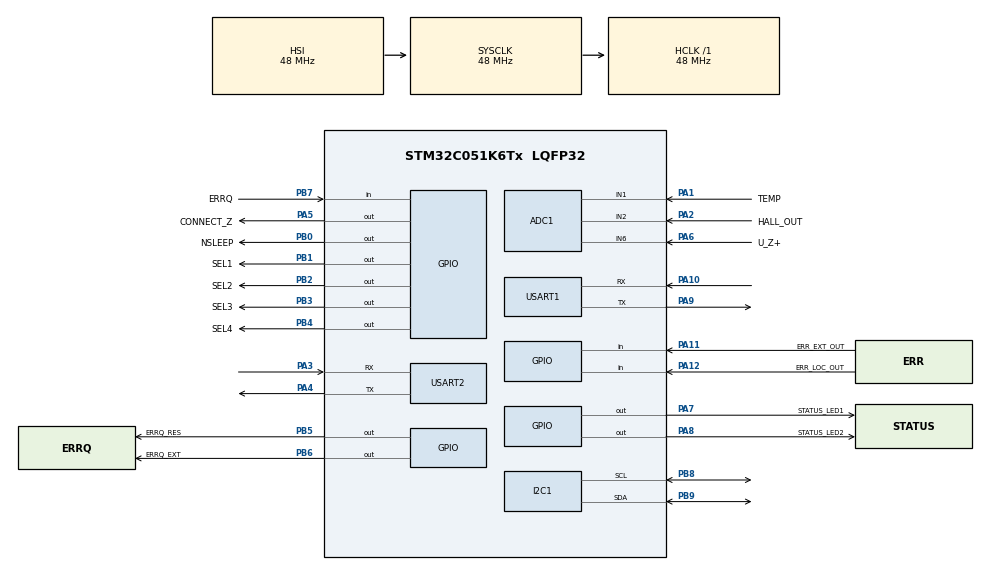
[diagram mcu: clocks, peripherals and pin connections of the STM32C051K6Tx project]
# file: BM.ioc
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ADC1.EnableAnalogWatchDog1=false
ADC1.NbrOfConversionFlag=0
ADC1.SamplingTimeCommon1=ADC_SAMPLETIME_160CYCLES_5
ADC1.SelectedChannel=ADC_CHANNEL_1|ADC_CHANNEL_2|ADC_CHANNEL_6
ADC1.master=1
FLASH.OB_Flash_Security_active=false
FLASH.OB_NRST_MODE_UI=OB_RESET_MODE_GPIO
FLASH.OB_User_Configuration_active=false
I2C1.Timing=0x10805D88
IWDG.Prescaler=IWDG_PRESCALER_32
IWDG.Reload=499
Mcu.Family=STM32C0
Mcu.Name=STM32C051K6Tx
Mcu.Package=LQFP32
PA1.GPIO_Label=TEMP
PA1.Mode=IN1
PA1.Signal=ADC1_IN1
PA10.Mode=Asynchronous
PA10.Signal=USART1_RX
PA11\ [PA9].GPIO_Label=ERR_EXT_OUT
PA11\ [PA9].Signal=GPIO_Input
PA12\ [PA10].GPIO_Label=ERR_LOC_OUT
PA12\ [PA10].Signal=GPIO_Input
PA13.Mode=Serial_Wire
PA13.Signal=DEBUG_SWDIO
PA14-BOOT0.Mode=Serial_Wire
PA14-BOOT0.Signal=DEBUG_SWCLK
PA2.GPIO_Label=HALL_OUT
PA2.Mode=IN2
PA2.Signal=ADC1_IN2
PA3.Mode=Asynchronous
PA3.Signal=USART2_RX
PA4.Mode=Asynchronous
PA4.Signal=USART2_TX
PA5.GPIO_Label=CONNECT_Z
PA5.Signal=GPIO_Output
PA6.GPIO_Label=U_Z+
PA6.Mode=IN6
PA6.Signal=ADC1_IN6
PA7.GPIO_Label=STATUS_LED1
PA7.Signal=GPIO_Output
PA8.GPIO_Label=STATUS_LED2
PA8.Signal=GPIO_Output
PA9.Mode=Asynchronous
PA9.Signal=USART1_TX
PB0.GPIO_Label=NSLEEP
PB0.PinState=GPIO_PIN_SET
PB0.Signal=GPIO_Output
PB1.GPIO_Label=SEL1
PB1.Signal=GPIO_Output
PB2.GPIO_Label=SEL2
PB2.Signal=GPIO_Output
PB3.GPIO_Label=SEL3
PB3.Signal=GPIO_Output
PB4.GPIO_Label=SEL4
PB4.Signal=GPIO_Output
PB5.GPIO_Label=ERRQ_RES
PB5.PinState=GPIO_PIN_SET
PB5.Signal=GPIO_Output
PB6.GPIO_Label=ERRQ_EXT
PB6.PinState=GPIO_PIN_SET
PB6.Signal=GPIO_Output
PB7.GPIO_Label=ERRQ
PB7.GPIO_PuPd=GPIO_PULLUP
PB7.Signal=GPIO_Input
PB8.Mode=I2C
PB8.Signal=I2C1_SCL
PB9.Mode=I2C
PB9.Signal=I2C1_SDA
PC14-OSCX_IN(PC14).GPIO_Label=OSC32_IN
PC14-OSCX_IN(PC14).Mode=LSE-External-Oscillator
PC14-OSCX_IN(PC14).Signal=RCC_OSCX_IN
PC15-OSCX_OUT(PC15).GPIO_Label=OSC_32_OUT
PC15-OSCX_OUT(PC15).Mode=LSE-External-Oscillator
PC15-OSCX_OUT(PC15).Signal=RCC_OSCX_OUT
ProjectManager.HeapSize=0x200
ProjectManager.StackSize=0x400
ProjectManager.TargetToolchain=STM32CubeIDE
RCC.ADCFreq_Value=48000000
RCC.AHBFreq_Value=48000000
RCC.CortexFreq_Value=48000000
RCC.EXTERNAL_CLOCK_VALUE=12288000
RCC.HCLKFreq_Value=48000000
RCC.HSE_VALUE=8000000
RCC.HSIKERCLKDivider=RCC_HSIKER_DIV2
RCC.HSISYSCLKDivider=RCC_HSI_DIV1
RCC.HSI_VALUE=48000000
RCC.SYSCLKFreq_VALUE=48000000
USART1.VirtualMode-Asynchronous=VM_ASYNC
USART2.VirtualMode-Asynchronous=VM_ASYNC
VP_FLASH_SIG_Activate_FlashIP.Mode=Activate_FlashIP
VP_IWDG_VS_IWDG.Mode=IWDG_Activate
board=custom

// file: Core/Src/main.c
/* USER CODE BEGIN Header */
/**
  ******************************************************************************
  * @file           : main.c
  * @brief          : Main program body
  ******************************************************************************
  * @attention
  *
  * Copyright (c) 2026 STMicroelectronics.
  * All rights reserved.
  *
  * This software is licensed under terms that can be found in the LICENSE file
  * in the root directory of this software component.
  * If no LICENSE file comes with this software, it is provided AS-IS.
  *
  ******************************************************************************
  */
/* USER CODE END Header */
#include "main.h"

/* USER CODE BEGIN Includes */
#include "bm_config.h"
#include "bm_io.h"
#include "bm_app.h"
#include "adc_reader.h"
#include "temperature_sensor.h"
#include "cell_meas.h"
#include "tle9015.h"
#include "eis.h"
#include "i2c_comm.h"
#include "uart_comm.h"

/* USER CODE END Includes */

ADC_HandleTypeDef hadc1;

I2C_HandleTypeDef hi2c1;

IWDG_HandleTypeDef hiwdg;

UART_HandleTypeDef huart1;
UART_HandleTypeDef huart2;

void SystemClock_Config(void);
static void MX_GPIO_Init(void);
static void MX_ADC1_Init(void);
static void MX_I2C1_Init(void);
static void MX_USART1_UART_Init(void);
static void MX_USART2_UART_Init(void);
static void MX_FLASH_Init(void);
static void MX_IWDG_Init(void);

int main(void)
{

  /* MCU Configuration--------------------------------------------------------*/

  /* Reset of all peripherals, Initializes the Flash interface and the Systick. */
  HAL_Init();

  /* Configure the system clock */
  SystemClock_Config();

  /* Initialize all configured peripherals */
  MX_GPIO_Init();
  MX_ADC1_Init();
  MX_I2C1_Init();
  MX_USART1_UART_Init();
  MX_USART2_UART_Init();
  MX_FLASH_Init();
  MX_IWDG_Init();
  /* USER CODE BEGIN 2 */

#if defined(HAL_IWDG_MODULE_ENABLED) && defined(__HAL_DBGMCU_FREEZE_IWDG)
  /* stop the watchdog while the debugger halts the core */
#if defined(__HAL_RCC_DBGMCU_CLK_ENABLE)
  __HAL_RCC_DBGMCU_CLK_ENABLE();
#endif
  __HAL_DBGMCU_FREEZE_IWDG();
#endif

  BmConfig_Load();      /* I2C address, number of TLE9010, current zero (flash) */
  BmIo_Init();          /* CONNECT_Z off, TLE9015 awake, ERRQ cleared */
  AdcReader_Init();     /* ADC self-calibration before the first conversion */
  TempSensor_Init();
  CellMeas_Init();
  Tle_Init();           /* USART2: 1 MBaud, MSB first */
  EIS_Init();
  I2cComm_Init();
  UartComm_Init();      /* debug console on USART1 (FT231X / USB) */

  /* USER CODE END 2 */

  /* Infinite loop */
  while (1)
  {

    /* USER CODE BEGIN 3 */
    TempSensor_Process();
    CellMeas_Process();
    EIS_Process();
    App_Process();
    I2cComm_Update();
    UartComm_Update();
    BmIo_Process(EIS_IsBusy(), App_GetErrorCode() != APP_ERR_NONE);

#ifdef HAL_IWDG_MODULE_ENABLED
    HAL_IWDG_Refresh(&hiwdg);
#endif
  }
  /* USER CODE END 3 */
}

void SystemClock_Config(void)
{
  RCC_OscInitTypeDef RCC_OscInitStruct = {0};
  RCC_ClkInitTypeDef RCC_ClkInitStruct = {0};

  __HAL_FLASH_SET_LATENCY(FLASH_LATENCY_1);

  /** Initializes the RCC Oscillators according to the specified parameters
  * in the RCC_OscInitTypeDef structure.
  */
  RCC_OscInitStruct.OscillatorType = RCC_OSCILLATORTYPE_HSI|RCC_OSCILLATORTYPE_LSI;
  RCC_OscInitStruct.HSIState = RCC_HSI_ON;
  RCC_OscInitStruct.HSIDiv = RCC_HSI_DIV1;
  RCC_OscInitStruct.HSICalibrationValue = RCC_HSICALIBRATION_DEFAULT;
  RCC_OscInitStruct.LSIState = RCC_LSI_ON;
  if (HAL_RCC_OscConfig(&RCC_OscInitStruct) != HAL_OK)
  {
    Error_Handler();
  }

  /** Initializes the CPU, AHB and APB buses clocks
  */
  RCC_ClkInitStruct.ClockType = RCC_CLOCKTYPE_HCLK|RCC_CLOCKTYPE_SYSCLK
                              |RCC_CLOCKTYPE_PCLK1;
  RCC_ClkInitStruct.SYSCLKSource = RCC_SYSCLKSOURCE_HSI;
  RCC_ClkInitStruct.SYSCLKDivider = RCC_SYSCLK_DIV1;
  RCC_ClkInitStruct.AHBCLKDivider = RCC_HCLK_DIV1;
  RCC_ClkInitStruct.APB1CLKDivider = RCC_APB1_DIV1;

  if (HAL_RCC_ClockConfig(&RCC_ClkInitStruct, FLASH_LATENCY_1) != HAL_OK)
  {
    Error_Handler();
  }
}

static void MX_ADC1_Init(void)
{

  ADC_ChannelConfTypeDef sConfig = {0};

  /** Configure the global features of the ADC (Clock, Resolution, Data Alignment and number of conversion)
  */
  hadc1.Instance = ADC1;
  hadc1.Init.ClockPrescaler = ADC_CLOCK_SYNC_PCLK_DIV2;
  hadc1.Init.Resolution = ADC_RESOLUTION_12B;
  hadc1.Init.DataAlign = ADC_DATAALIGN_RIGHT;
  hadc1.Init.ScanConvMode = ADC_SCAN_SEQ_FIXED;
  hadc1.Init.EOCSelection = ADC_EOC_SINGLE_CONV;
  hadc1.Init.LowPowerAutoWait = DISABLE;
  hadc1.Init.LowPowerAutoPowerOff = DISABLE;
  hadc1.Init.ContinuousConvMode = DISABLE;
  hadc1.Init.NbrOfConversion = 1;
  hadc1.Init.DiscontinuousConvMode = DISABLE;
  hadc1.Init.ExternalTrigConv = ADC_SOFTWARE_START;
  hadc1.Init.ExternalTrigConvEdge = ADC_EXTERNALTRIGCONVEDGE_NONE;
  hadc1.Init.DMAContinuousRequests = DISABLE;
  hadc1.Init.Overrun = ADC_OVR_DATA_PRESERVED;
  hadc1.Init.SamplingTimeCommon1 = ADC_SAMPLETIME_160CYCLES_5;
  hadc1.Init.OversamplingMode = DISABLE;
  hadc1.Init.TriggerFrequencyMode = ADC_TRIGGER_FREQ_HIGH;
  if (HAL_ADC_Init(&hadc1) != HAL_OK)
  {
    Error_Handler();
  }

  /** Configure Regular Channel
  */
  sConfig.Channel = ADC_CHANNEL_1;
  sConfig.Rank = ADC_RANK_CHANNEL_NUMBER;
  if (HAL_ADC_ConfigChannel(&hadc1, &sConfig) != HAL_OK)
  {
    Error_Handler();
  }

  /** Configure Regular Channel
  */
  sConfig.Channel = ADC_CHANNEL_2;
  if (HAL_ADC_ConfigChannel(&hadc1, &sConfig) != HAL_OK)
  {
    Error_Handler();
  }

  /** Configure Regular Channel
  */
  sConfig.Channel = ADC_CHANNEL_6;
  if (HAL_ADC_ConfigChannel(&hadc1, &sConfig) != HAL_OK)
  {
    Error_Handler();
  }

}

static void MX_FLASH_Init(void)
{

  if (HAL_FLASH_Unlock() != HAL_OK)
  {
    Error_Handler();
  }
  if (HAL_FLASH_OB_Unlock() != HAL_OK)
  {
    Error_Handler();
  }
  if (HAL_FLASH_OB_Lock() != HAL_OK)
  {
    Error_Handler();
  }
  if (HAL_FLASH_Lock() != HAL_OK)
  {
    Error_Handler();
  }

}

static void MX_I2C1_Init(void)
{

  hi2c1.Instance = I2C1;
  hi2c1.Init.Timing = 0x10805D88;
  hi2c1.Init.OwnAddress1 = 0;
  hi2c1.Init.AddressingMode = I2C_ADDRESSINGMODE_7BIT;
  hi2c1.Init.DualAddressMode = I2C_DUALADDRESS_DISABLE;
  hi2c1.Init.OwnAddress2 = 0;
  hi2c1.Init.OwnAddress2Masks = I2C_OA2_NOMASK;
  hi2c1.Init.GeneralCallMode = I2C_GENERALCALL_DISABLE;
  hi2c1.Init.NoStretchMode = I2C_NOSTRETCH_DISABLE;
  if (HAL_I2C_Init(&hi2c1) != HAL_OK)
  {
    Error_Handler();
  }

  /** Configure Analogue filter
  */
  if (HAL_I2CEx_ConfigAnalogFilter(&hi2c1, I2C_ANALOGFILTER_ENABLE) != HAL_OK)
  {
    Error_Handler();
  }

  /** Configure Digital filter
  */
  if (HAL_I2CEx_ConfigDigitalFilter(&hi2c1, 0) != HAL_OK)
  {
    Error_Handler();
  }

}

static void MX_IWDG_Init(void)
{

  hiwdg.Instance = IWDG;
  hiwdg.Init.Prescaler = IWDG_PRESCALER_32;
  hiwdg.Init.Window = 4095;
  hiwdg.Init.Reload = 499;
  if (HAL_IWDG_Init(&hiwdg) != HAL_OK)
  {
    Error_Handler();
  }

}

static void MX_USART1_UART_Init(void)
{

  huart1.Instance = USART1;
  huart1.Init.BaudRate = 115200;
  huart1.Init.WordLength = UART_WORDLENGTH_8B;
  huart1.Init.StopBits = UART_STOPBITS_1;
  huart1.Init.Parity = UART_PARITY_NONE;
  huart1.Init.Mode = UART_MODE_TX_RX;
  huart1.Init.HwFlowCtl = UART_HWCONTROL_NONE;
  huart1.Init.OverSampling = UART_OVERSAMPLING_16;
  huart1.Init.OneBitSampling = UART_ONE_BIT_SAMPLE_DISABLE;
  huart1.Init.ClockPrescaler = UART_PRESCALER_DIV1;
  huart1.AdvancedInit.AdvFeatureInit = UART_ADVFEATURE_NO_INIT;
  if (HAL_UART_Init(&huart1) != HAL_OK)
  {
    Error_Handler();
  }
  if (HAL_UARTEx_SetTxFifoThreshold(&huart1, UART_TXFIFO_THRESHOLD_1_8) != HAL_OK)
  {
    Error_Handler();
  }
  if (HAL_UARTEx_SetRxFifoThreshold(&huart1, UART_RXFIFO_THRESHOLD_1_8) != HAL_OK)
  {
    Error_Handler();
  }
  if (HAL_UARTEx_DisableFifoMode(&huart1) != HAL_OK)
  {
    Error_Handler();
  }

}

static void MX_USART2_UART_Init(void)
{

  huart2.Instance = USART2;
  huart2.Init.BaudRate = 115200;
  huart2.Init.WordLength = UART_WORDLENGTH_8B;
  huart2.Init.StopBits = UART_STOPBITS_1;
  huart2.Init.Parity = UART_PARITY_NONE;
  huart2.Init.Mode = UART_MODE_TX_RX;
  huart2.Init.HwFlowCtl = UART_HWCONTROL_NONE;
  huart2.Init.OverSampling = UART_OVERSAMPLING_16;
  huart2.Init.OneBitSampling = UART_ONE_BIT_SAMPLE_DISABLE;
  huart2.Init.ClockPrescaler = UART_PRESCALER_DIV1;
  huart2.AdvancedInit.AdvFeatureInit = UART_ADVFEATURE_NO_INIT;
  if (HAL_UART_Init(&huart2) != HAL_OK)
  {
    Error_Handler();
  }

}

static void MX_GPIO_Init(void)
{
  GPIO_InitTypeDef GPIO_InitStruct = {0};

  /* GPIO Ports Clock Enable */
  __HAL_RCC_GPIOB_CLK_ENABLE();
  __HAL_RCC_GPIOC_CLK_ENABLE();
  __HAL_RCC_GPIOA_CLK_ENABLE();

  /*Configure GPIO pin Output Level */
  HAL_GPIO_WritePin(GPIOA, CONNECT_Z_Pin|STATUS_LED1_Pin|STATUS_LED2_Pin, GPIO_PIN_RESET);

  /*Configure GPIO pin Output Level */
  HAL_GPIO_WritePin(GPIOB, NSLEEP_Pin|ERRQ_RES_Pin|ERRQ_EXT_Pin, GPIO_PIN_SET);

  /*Configure GPIO pin Output Level */
  HAL_GPIO_WritePin(GPIOB, SEL1_Pin|SEL2_Pin|SEL3_Pin|SEL4_Pin, GPIO_PIN_RESET);

  /*Configure GPIO pins : CONNECT_Z_Pin STATUS_LED1_Pin STATUS_LED2_Pin */
  GPIO_InitStruct.Pin = CONNECT_Z_Pin|STATUS_LED1_Pin|STATUS_LED2_Pin;
  GPIO_InitStruct.Mode = GPIO_MODE_OUTPUT_PP;
  GPIO_InitStruct.Pull = GPIO_NOPULL;
  GPIO_InitStruct.Speed = GPIO_SPEED_FREQ_LOW;
  HAL_GPIO_Init(GPIOA, &GPIO_InitStruct);

  /*Configure GPIO pins : NSLEEP_Pin SEL1_Pin SEL2_Pin SEL3_Pin
                           SEL4_Pin ERRQ_RES_Pin ERRQ_EXT_Pin */
  GPIO_InitStruct.Pin = NSLEEP_Pin|SEL1_Pin|SEL2_Pin|SEL3_Pin
                          |SEL4_Pin|ERRQ_RES_Pin|ERRQ_EXT_Pin;
  GPIO_InitStruct.Mode = GPIO_MODE_OUTPUT_PP;
  GPIO_InitStruct.Pull = GPIO_NOPULL;
  GPIO_InitStruct.Speed = GPIO_SPEED_FREQ_LOW;
  HAL_GPIO_Init(GPIOB, &GPIO_InitStruct);

  /*Configure GPIO pins : ERR_EXT_OUT_Pin ERR_LOC_OUT_Pin */
  GPIO_InitStruct.Pin = ERR_EXT_OUT_Pin|ERR_LOC_OUT_Pin;
  GPIO_InitStruct.Mode = GPIO_MODE_INPUT;
  GPIO_InitStruct.Pull = GPIO_NOPULL;
  HAL_GPIO_Init(GPIOA, &GPIO_InitStruct);

  /*Configure GPIO pin : ERRQ_Pin */
  GPIO_InitStruct.Pin = ERRQ_Pin;
  GPIO_InitStruct.Mode = GPIO_MODE_INPUT;
  GPIO_InitStruct.Pull = GPIO_PULLUP;
  HAL_GPIO_Init(ERRQ_GPIO_Port, &GPIO_InitStruct);

}

void Error_Handler(void)
{
  __disable_irq();
  while (1)
  {
  }
}
